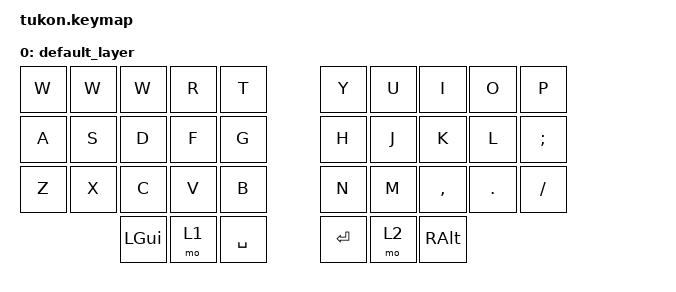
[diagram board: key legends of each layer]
#include <behaviors.dtsi>
#include <dt-bindings/zmk/keys.h>

/ {
    keymap {
        compatible = "zmk,keymap";

        default_layer {
            // -----------------------------------------------------------------------------------------
            // |  Q  |  W  |  E  |  R  |  T  |   |  Y  |  U   |  I  |  O  |  P  |
            // |  A  |  S  |  D  |  F  |  G  |   |  H  |  J   |  K  |  L  |  ;  |
            // |  Z  |  X  |  C  |  V  |  B  |   |  N  |  M   |  ,  |  .  |  /  |
            //             | GUI | LWR | SPC |   | ENT | RSE  | ALT |

            bindings = <
  &kp W  &kp W  &kp W     &kp R  &kp T        &kp Y    &kp U  &kp I      &kp O    &kp P
  &kp A  &kp S  &kp D     &kp F  &kp G        &kp H    &kp J  &kp K      &kp L    &kp SEMI
  &kp Z  &kp X  &kp C     &kp V  &kp B        &kp N    &kp M  &kp COMMA  &kp DOT  &kp FSLH
                &kp LGUI  &mo 1  &kp SPACE    &kp RET  &mo 2  &kp RALT
            >;
        };
    };
};
